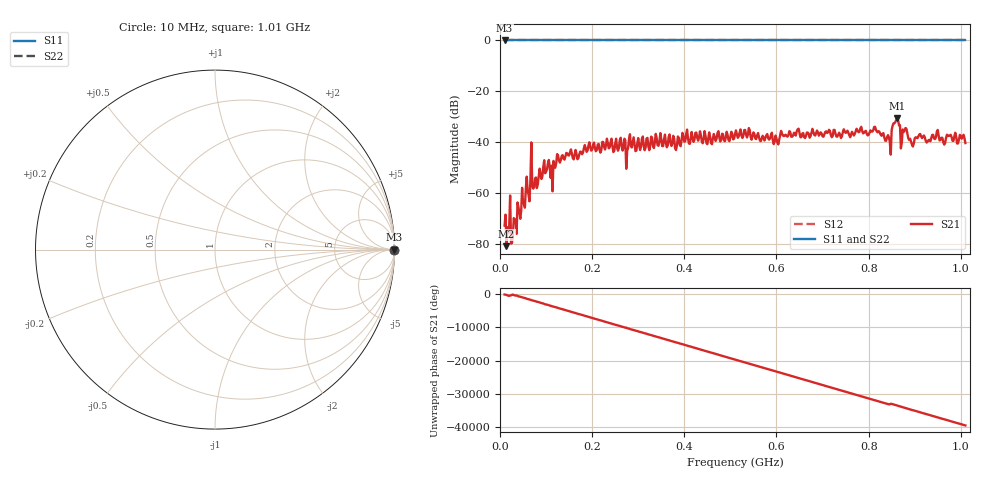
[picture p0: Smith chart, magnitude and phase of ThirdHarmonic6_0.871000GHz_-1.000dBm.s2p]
! 8/16/2025 4:45:29 AM
! C:\ANRITSUVNA\TEMP\TEMP.S2P
! CHANNEL.1
! TR.MEASUREMENT
! RAW.DATA
! RF.CORRECTION.OFF
! AVERAGING.OFF
! IF.BANDWIDTH: 5KHZ
! SWEEPTYPE:  FREQ.SWEEP(Linear)
! Reference Plane Port Info
! PORT:  PORT1  PORT2
! DISTANCE:  0  m  0  m
! TIME:  0  s  0  s
! PHASE.OFFSET:  0  deg.  0  deg.
! LOSS:  0  dB  0  dB
! REF.LOSS:  0  dB  0  dB
! REF.FREQ:  0  Hz  0  Hz
! Power Info
! POWER:  -20  dBm  -20  dBm
! EFF.POWER:  -20  dBm  -20  dBm
! SOURCE.ATTEN:  0  dB  0  dB
! TEST.ATTEN:  0  dB  0  dB
# GHZ S RI R 50.0
! FREQ.GHZ  S11RE  S11IM  S21RE  S21IM  S12RE  S12IM  S22RE  S22IM
!; PortSelection: Port_12
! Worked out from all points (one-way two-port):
!   501 points, 10 MHz to 1.01 GHz, reference 50 ohm
!   highest |S21| = -30.65 dB at 862 MHz (marker M1); lowest = -81.0 dB at 14 MHz (marker M2)
!   lowest |S11| = 0.0 dB at 10 MHz (marker M3)
!   |S11| at or under -10 dB: nowhere
!   |S22| runs from 0.0 to 0.0 dB; largest |S21 - S12| = 1
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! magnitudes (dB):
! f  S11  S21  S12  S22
! 10 MHz  0.0  -72.9  0.0  0.0
! 14 MHz  0.0  -81.0  0.0  0.0
! 20 MHz  0.0  -73.0  0.0  0.0
! 28 MHz  0.0  -76.7  0.0  0.0
! 70 MHz  0.0  -57.4  0.0  0.0
! 76 MHz  0.0  -54.4  0.0  0.0
! 104 MHz  0.0  -48.4  0.0  0.0
! 114 MHz  0.0  -59.4  0.0  0.0
! 126 MHz  0.0  -45.3  0.0  0.0
! 178 MHz  0.0  -44.8  0.0  0.0
! 344 MHz  0.0  -41.5  0.0  0.0
! 510 MHz  0.0  -37.1  0.0  0.0
! 600 MHz  0.0  -38.7  0.0  0.0
! 678 MHz  0.0  -34.8  0.0  0.0
! 814 MHz  0.0  -34.0  0.0  0.0
! 844 MHz  0.0  -38.1  0.0  0.0
! 862 MHz  0.0  -30.6  0.0  0.0
! 870 MHz  0.0  -42.5  0.0  0.0
! 878 MHz  0.0  -35.5  0.0  0.0
! 894 MHz  0.0  -41.1  0.0  0.0
! 948 MHz  0.0  -35.9  0.0  0.0
! 1.01 GHz  0.0  -40.4  0.0  0.0
